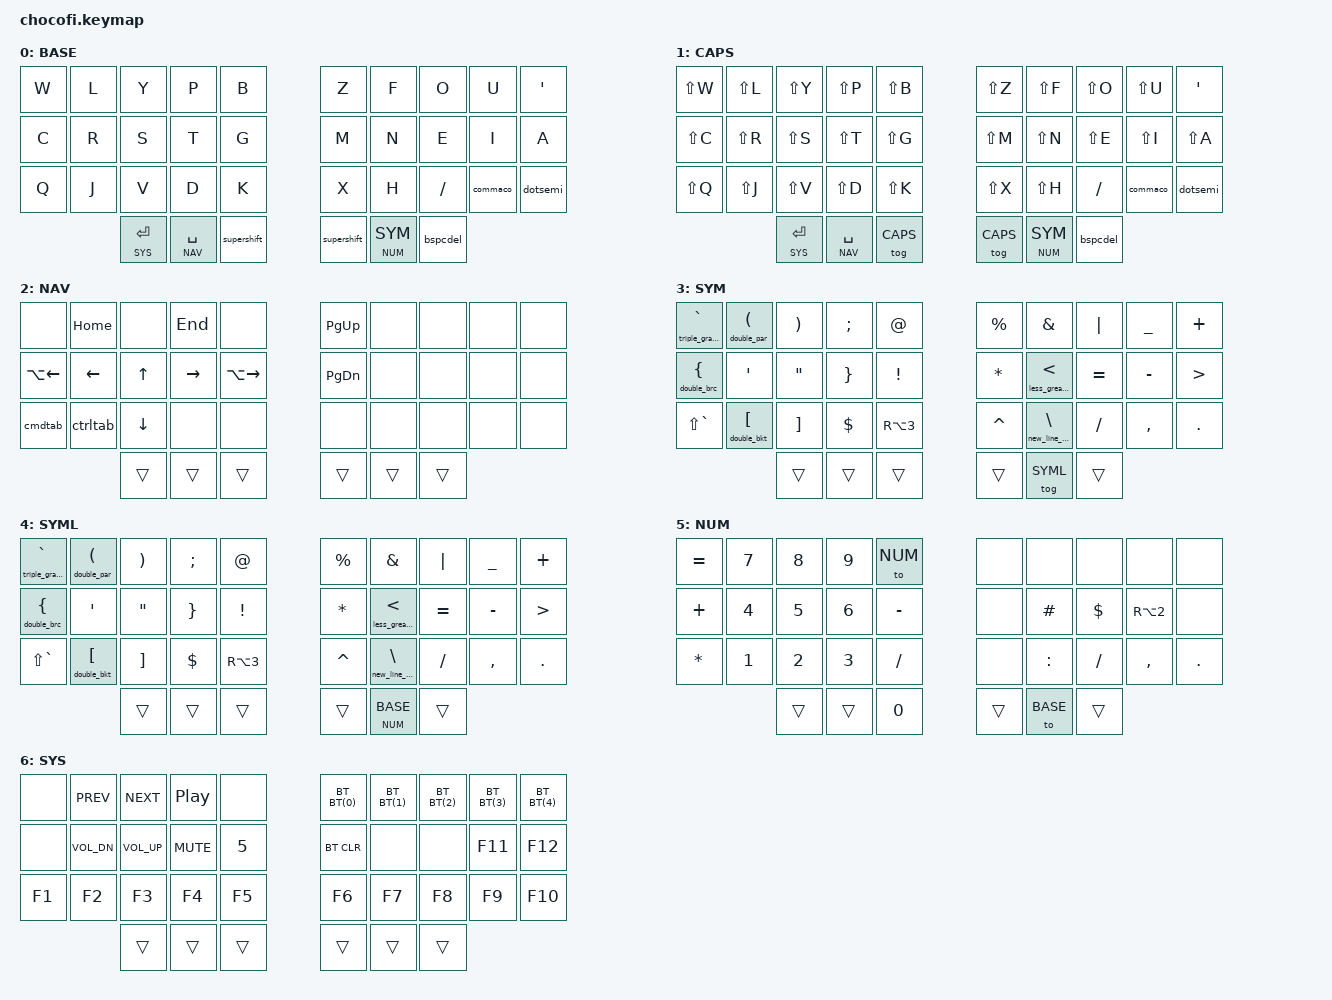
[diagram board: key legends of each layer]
#include <behaviors.dtsi>
#include <dt-bindings/zmk/bt.h>
#include <dt-bindings/zmk/keys.h>

#define BASE  0
#define CAPS  1
#define NAV   2
#define SYM   3
#define SYML  4
#define NUM   5
#define SYS	  6

#define BT(n) BT_SEL n

&mt {
  hold-while-undecided;
};

&lt {
  tapping-term-ms = <200>;
  quick-tap-ms = <199>;
};

&sk {
  release-after-ms = <2000>;
  quick-release;
};

/ {
  // COMBOS

  combos {
    compatible = "zmk,combos";

    // --> KEYCODES

    esc {
      key-positions = <10 11>;
      bindings = <&kp ESC>;
      timeout-ms = <40>;
      layers = <BASE CAPS SYM SYML NUM>;
      require-prior-idle-ms = <200>;
    };

    tab {
      key-positions = <11 12>;
      bindings = <&kp TAB>;
      timeout-ms = <40>;
      layers = <BASE CAPS SYM SYML NUM>;
      require-prior-idle-ms = <200>;
    };

    backspace {
      key-positions = <21 22>;
      bindings = <&kp BSPC>;
      timeout-ms = <40>;
      layers = <BASE CAPS SYM SYML NUM>;
      require-prior-idle-ms = <200>;
    };

    del {
      key-positions = <22 23>;
      bindings = <&kp DEL>;
      timeout-ms = <40>;
      layers = <BASE CAPS SYM SYML NUM>;
      require-prior-idle-ms = <200>;
    };

    // --> MODS

    lctrl {
      key-positions = <0 1>;
      bindings = <&kp LCTRL>;
      timeout-ms = <40>;
      layers = <BASE CAPS SYM SYML NUM SYS>;
      require-prior-idle-ms = <200>;
    };

    lalt {
      key-positions = <1 2>;
      bindings = <&kp LALT>;
      timeout-ms = <40>;
      layers = <BASE CAPS SYM SYML NUM SYS>;
      require-prior-idle-ms = <200>;
    };

    lgui {
      key-positions = <2 3>;
      bindings = <&kp LGUI>;
      timeout-ms = <40>;
      layers = <BASE CAPS SYM SYML NUM SYS>;
      require-prior-idle-ms = <200>;
    };

    lctrlalt {
      key-positions = <0 1 1>;
      bindings = <&kp LC(LALT)>;
      timeout-ms = <40>;
      layers = <BASE CAPS SYM SYML NUM SYS>;
      require-prior-idle-ms = <200>;
    };

    laltgui {
      key-positions = <1 2 1>;
      bindings = <&kp LA(LGUI)>;
      timeout-ms = <40>;
      layers = <BASE CAPS SYM SYML NUM SYS>;
      require-prior-idle-ms = <200>;
    };

    lctrlaltgui {
      key-positions = <0 1 2 3>;
      bindings = <&kp LC(LA(LGUI))>;
      timeout-ms = <40>;
      layers = <BASE CAPS SYM SYML NUM SYS>;
      require-prior-idle-ms = <200>;
    };

    rgui {
      key-positions = <6 7>;
      bindings = <&kp RGUI>;
      timeout-ms = <40>;
      layers = <BASE CAPS SYM SYML NUM SYS>;
      require-prior-idle-ms = <200>;
    };

    ralt {
      key-positions = <7 8>;
      bindings = <&kp RALT>;
      timeout-ms = <40>;
      layers = <BASE CAPS SYM SYML NUM SYS>;
      require-prior-idle-ms = <200>;
    };

    rctrl {
      key-positions = <8 9>;
      bindings = <&kp RCTRL>;
      timeout-ms = <40>;
      layers = <BASE CAPS SYM SYML NUM SYS>;
      require-prior-idle-ms = <200>;
    };

    rguialt {
      key-positions = <6 7 8>;
      bindings = <&kp RG(RALT)>;
      timeout-ms = <40>;
      layers = <BASE CAPS SYM SYML NUM SYS>;
      require-prior-idle-ms = <200>;
    };

    raltctrl {
      key-positions = <7 8 9>;
      bindings = <&kp RA(RCTRL)>;
      timeout-ms = <40>;
      layers = <BASE CAPS SYM SYML NUM SYS>;
      require-prior-idle-ms = <200>;
    };

    rguialtctrl {
      key-positions = <6 7 8 9>;
      bindings = <&kp RG(RA(RCTRL))>;
      timeout-ms = <40>;
      layers = <BASE CAPS SYM SYML NUM SYS>;
      require-prior-idle-ms = <200>;
    };

    // --> SHORTCUTS

    quit {
      key-positions = <0 1>;
      bindings = <&kp RG(Q)>;
      layers = <NAV>;
      timeout-ms = <40>;
    };

    undo {
      key-positions = <1 2>;
      bindings = <&kp RG(Z)>;
      layers = <NAV>;
      timeout-ms = <40>;
    };

    redo {
      key-positions = <2 3>;
      bindings = <&kp RG(RS(Z))>;
      layers = <NAV>;
      timeout-ms = <40>;
    };

    all {
      key-positions = <10 11>;
      bindings = <&kp RG(A)>;
      layers = <NAV>;
      timeout-ms = <40>;
    };

    find {
      key-positions = <11 12>;
      bindings = <&kp RG(F)>;
      layers = <NAV>;
      timeout-ms = <40>;
    };

    newtab {
      key-positions = <12 13>;
      bindings = <&kp RG(T)>;
      layers = <NAV>;
      timeout-ms = <40>;
    };

    new {
      key-positions = <13 14>;
      bindings = <&kp RG(N)>;
      layers = <NAV>;
      timeout-ms = <40>;
    };

    cut {
      key-positions = <20 21>;
      bindings = <&kp RG(X)>;
      timeout-ms = <40>;
      layers = <NAV>;
      require-prior-idle-ms = <200>;
    };

    copy {
      key-positions = <21 22>;
      bindings = <&kp RG(C)>;
      timeout-ms = <40>;
      layers = <NAV>;
      require-prior-idle-ms = <200>;
    };

    paste {
      key-positions = <22 23>;
      bindings = <&kp RG(V)>;
      timeout-ms = <40>;
      layers = <NAV>;
      require-prior-idle-ms = <200>;
    };
  };

  // MACROS

  macros {
    triple_grave_macro: triple_grave_macro {
      compatible = "zmk,behavior-macro";
      #binding-cells = <0>;
      label = "TRIPLE_GRAVE_MACRO";
      bindings = <&kp GRAVE &kp GRAVE &kp GRAVE>;
    };
    new_line_macro: new_line_macro {
      compatible = "zmk,behavior-macro";
      #binding-cells = <0>;
      label = "NEW_LINE_MACRO";
      bindings = <&kp BSLH &kp N>;
    };
    less_greater: less_greater {
      compatible = "zmk,behavior-macro";
      #binding-cells = <0>;
      label = "LESS_GREATER";
      bindings = <&kp LT &kp GT &kp LEFT>;
    };
    double_bkt: double_bkt {
      compatible = "zmk,behavior-macro";
      #binding-cells = <0>;
      label = "DOUBLE_BKT";
      bindings = <&kp LBKT &kp RBKT &kp LEFT>;
    };
    double_par: double_par {
      compatible = "zmk,behavior-macro";
      #binding-cells = <0>;
      label = "DOUBLE_PAR";
      bindings = <&kp LPAR &kp RPAR &kp LEFT>;
    };
    double_brc: double_brc {
      compatible = "zmk,behavior-macro";
      #binding-cells = <0>;
      label = "DOUBLE_BRC";
      bindings = <&kp LBRC &kp RBRC &kp LEFT>;
    };
  };

  // BEHAVIOURS

  behaviors {

    // --> GENERAL

    ht: hold_tap {
      compatible = "zmk,behavior-hold-tap";
      label = "hold_tap";
      #binding-cells = <2>;
      flavor = "hold-preferred";
      tapping-term-ms = <200>;
      quick-tap-ms = <150>;
      bindings = <&kp>, <&kp>;
      hold-while-undecided;
    };

    gqt: global-quick-tap {
      compatible = "zmk,behavior-hold-tap";
      label = "GLOBAL_QUICK_TAP";
      #binding-cells = <2>;
      flavor = "tap-preferred";
      tapping-term-ms = <200>;
      quick-tap-ms = <125>;
      global-quick-tap;
      bindings = <&kp>, <&kp>;
    };

    lsm: layer_sticky_mod {
      compatible = "zmk,behavior-hold-tap";
      #binding-cells = <2>;
      label = "LAYER_STICKY_MOD";
      flavor = "tap-preferred";
      tapping-term-ms = <200>;
      quick-tap-ms = <150>;
      bindings = <&mo>, <&sk>;
    };

    msl: mod_sticky_layer {
      compatible = "zmk,behavior-hold-tap";
      #binding-cells = <2>;
      label = "MOD_STICKY_LAYER";
      flavor = "tap-preferred";
      tapping-term-ms = <200>;
      quick-tap-ms = <150>;
      bindings = <&kp>, <&sl>;
    };

    msm: mod_sticky_mod {
      compatible = "zmk,behavior-hold-tap";
      #binding-cells = <2>;
      label = "MOD_STICKY_MOD";
      flavor = "hold-preferred";
      tapping-term-ms = <200>;
      quick-tap-ms = <150>;
      bindings = <&kp>, <&sk>;
    };

    lsl: layer_sticky_layer {
      compatible = "zmk,behavior-hold-tap";
      #binding-cells = <2>;
      label = "LAYER_STICKY_LAYER";
      flavor = "tap-preferred";
      tapping-term-ms = <200>;
      quick-tap-ms = <150>;
      bindings = <&mo>, <&sl>;
    };

    mto: mo_to {
      compatible = "zmk,behavior-hold-tap";
      label = "mo_to";
      #binding-cells = <2>;
      flavor = "hold-preferred";
      tapping-term-ms = <200>;
      bindings = <&mo>, <&to>;
    };

    // --> KEYMAP

    tgrave: grave_macro {
      compatible = "zmk,behavior-hold-tap";
      label = "GRAVE_MACRO";
      #binding-cells = <2>;
      tapping-term-ms = <400>;
      quick-tap-ms = <150>;
      flavor = "balanced";
      bindings = <&triple_grave_macro>, <&kp>;
    };

    nline: bslh_newline_macro {
      compatible = "zmk,behavior-hold-tap";
      label = "BSLH_NEWLINE_MACRO";
      #binding-cells = <2>;
      tapping-term-ms = <400>;
      quick-tap-ms = <150>;
      flavor = "balanced";
      bindings = <&new_line_macro>, <&kp>;
    };

    ltgt: ltgt_macro {
      compatible = "zmk,behavior-hold-tap";
      label = "LTGT_MACRO";
      #binding-cells = <2>;
      tapping-term-ms = <400>;
      quick-tap-ms = <150>;
      flavor = "balanced";
      bindings = <&less_greater>, <&kp>;
    };

    dbkt: dbkt_macro {
      compatible = "zmk,behavior-hold-tap";
      label = "DBKT_MACRO";
      #binding-cells = <2>;
      tapping-term-ms = <400>;
      quick-tap-ms = <150>;
      flavor = "balanced";
      bindings = <&double_bkt>, <&kp>;
    };

    dpar: dpar_macro {
      compatible = "zmk,behavior-hold-tap";
      label = "DPAR_MACRO";
      #binding-cells = <2>;
      tapping-term-ms = <400>;
      quick-tap-ms = <150>;
      flavor = "balanced";
      bindings = <&double_par>, <&kp>;
    };

    dbrc: dbrc_macro {
      compatible = "zmk,behavior-hold-tap";
      label = "DBRC_MACRO";
      #binding-cells = <2>;
      tapping-term-ms = <400>;
      quick-tap-ms = <150>;
      flavor = "balanced";
      bindings = <&double_brc>, <&kp>;
    };

    cmdtab: cmdtab {
      compatible = "zmk,behavior-tri-state";
      label = "CMDTAB";
      #binding-cells = <0>;
      bindings = <&kt LCMD>, <&kp TAB>, <&kt LCMD>;
      ignored-key-positions = <1>;
    };

    ctrltab: ctrltab {
      compatible = "zmk,behavior-tri-state";
      label = "CTRLTAB";
      #binding-cells = <0>;
      bindings = <&kt LCTRL>, <&kp TAB>, <&kt LCTRL>;
      ignored-key-positions = <1>;
    };

    // --> MOD MORPH

    commaco: comma_colon {
      compatible = "zmk,behavior-mod-morph";
      label = "COMMA_COLON";
      #binding-cells = <0>;
      bindings = <&kp COMMA>, <&kp COLON>;
      mods = <(MOD_LSFT|MOD_RSFT)>;
    };
    dotsemi: dot_semi {
      compatible = "zmk,behavior-mod-morph";
      label = "DOT_SEMI";
      #binding-cells = <0>;
      bindings = <&kp DOT>, <&kp SEMI>;
      mods = <(MOD_LSFT|MOD_RSFT)>;
    };
    bspcdel: bspc_del {
      compatible = "zmk,behavior-mod-morph";
      label = "BSPC_DEL";
      #binding-cells = <0>;
      bindings = <&kp BSPC>, <&kp DEL>;
      mods = <(MOD_LSFT|MOD_RSFT)>;
    };
    supershift: supershift {
      compatible = "zmk,behavior-mod-morph";
      label = "SUPERSHIFT";
      #binding-cells = <0>;
      bindings = <&msm RSHFT RSHFT>, <&tog CAPS>;
      mods = <(MOD_RSFT)>;
    };
  };

  // KEYMAP

  keymap {
    compatible = "zmk,keymap";

    base {
      label = "BASE";
      bindings = <
        &kp W  &kp L  &kp Y          &kp P          &kp B          &kp Z        &kp F         &kp O     &kp U     &kp SQT
        &kp C  &kp R  &kp S          &kp T          &kp G          &kp M        &kp N         &kp E     &kp I     &kp A
        &kp Q  &kp J  &kp V          &kp D          &kp K          &kp X        &kp H         &kp FSLH  &commaco  &dotsemi
                      &lt SYS ENTER  &lt NAV SPACE  &supershift    &supershift  &lsl NUM SYM  &bspcdel
      >;
    };

    caps {
      label = "CAPS";
      bindings = <
        &kp LS(W)  &kp LS(L)  &kp LS(Y)      &kp LS(P)      &kp LS(B)    &kp LS(Z)    &kp LS(F)     &kp LS(O)  &kp LS(U)  &kp SQT
        &kp LS(C)  &kp LS(R)  &kp LS(S)      &kp LS(T)      &kp LS(G)    &kp LS(M)    &kp LS(N)     &kp LS(E)  &kp LS(I)  &kp LS(A)
        &kp LS(Q)  &kp LS(J)  &kp LS(V)      &kp LS(D)      &kp LS(K)    &kp LS(X)    &kp LS(H)     &kp FSLH   &commaco   &dotsemi
                              &lt SYS ENTER  &lt NAV SPACE  &tog CAPS    &tog CAPS    &lsl NUM SYM  &bspcdel
      >;
    };

    nav {
      label = "NAV";
      bindings = <
        &none         &kp HOME  &none     &kp END    &none            &kp PG_UP  &none   &none  &none  &none
        &kp LA(LEFT)  &kp LEFT  &kp UP    &kp RIGHT  &kp LA(RIGHT)    &kp PG_DN  &none   &none  &none  &none
        &cmdtab       &ctrltab  &kp DOWN  &none      &none            &none      &none   &none  &none  &none
                                &trans    &trans     &trans           &trans     &trans  &trans
      >;
    };

    sym {
      label = "SYM";
      bindings = <
        &tgrave 0 GRAVE  &dpar 0 LPAR  &kp RPAR  &kp SEMI  &kp AT        &kp PRCNT  &kp AMPS       &kp PIPE   &kp UNDER  &kp PLUS
        &dbrc 0 LBRC     &kp SQT       &kp DQT   &kp RBRC  &kp EXCL      &kp STAR   &ltgt 0 LT     &kp EQUAL  &kp MINUS  &kp GT
        &kp LS(GRAVE)    &dbkt 0 LBKT  &kp RBKT  &kp DLLR  &kp RA(N3)    &kp CARET  &nline 0 BSLH  &kp FSLH   &kp COMMA  &kp DOT
                                       &trans    &trans    &trans        &trans     &tog SYML       &trans
      >;
    };

    syml {
      label = "SYML";
      bindings = <
        &tgrave 0 GRAVE  &dpar 0 LPAR  &kp RPAR  &kp SEMI  &kp AT        &kp PRCNT  &kp AMPS        &kp PIPE   &kp UNDER  &kp PLUS
        &dbrc 0 LBRC     &kp SQT       &kp DQT   &kp RBRC  &kp EXCL      &kp STAR   &ltgt 0 LT      &kp EQUAL  &kp MINUS  &kp GT
        &kp LS(GRAVE)    &dbkt 0 LBKT  &kp RBKT  &kp DLLR  &kp RA(N3)    &kp CARET  &nline 0 BSLH   &kp FSLH   &kp COMMA  &kp DOT
                                       &trans    &trans    &trans        &trans     &mto NUM BASE   &trans
      >;
    };

    num {
      label = "NUM";
      bindings = <
        &kp EQUAL  &kp N7  &kp N8  &kp N9  &to NUM      &none   &none      &none     &none       &none
        &kp PLUS   &kp N4  &kp N5  &kp N6  &kp MINUS    &none   &kp HASH   &kp DLLR  &kp RA(N2)  &none
        &kp STAR   &kp N1  &kp N2  &kp N3  &kp FSLH     &none   &kp COLON  &kp FSLH  &kp COMMA   &kp DOT
                           &trans  &trans  &kp N0       &trans  &to BASE   &trans
      >;
    };

    sys {
      label = "SYS";
      bindings = <
        &none   &kp C_PREV    &kp C_NEXT    &kp C_PP    &none     &bt BT(0)   &bt BT(1)  &bt BT(2)  &bt BT(3)  &bt BT(4)
        &none   &kp C_VOL_DN  &kp C_VOL_UP  &kp C_MUTE  &kp N5    &bt BT_CLR  &none      &none      &kp F11    &kp F12
        &kp F1  &kp F2        &kp F3        &kp F4      &kp F5    &kp F6      &kp F7     &kp F8     &kp F9     &kp F10
                              &trans        &trans      &trans    &trans      &trans     &trans
      >;
    };
  };
};
